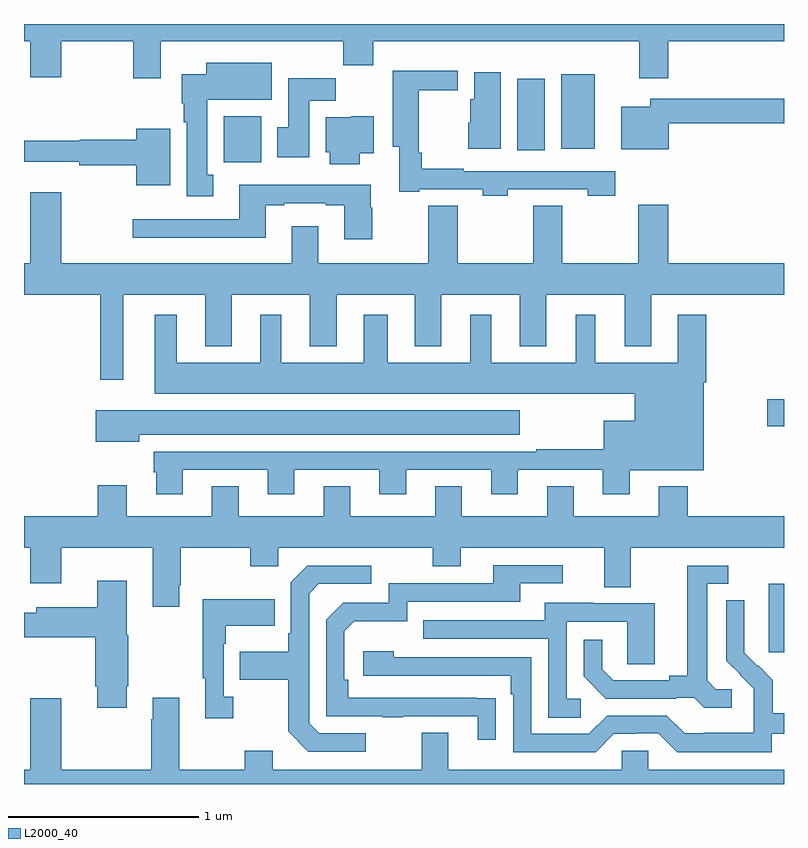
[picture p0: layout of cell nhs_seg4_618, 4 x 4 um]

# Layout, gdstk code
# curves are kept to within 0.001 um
import gdstk
lib = gdstk.Library(unit=1e-6, precision=1e-09)
def R(c, l, rs):  # rectangles x0, y0, x1, y1
    for r in rs: c.add(gdstk.rectangle(r[:2], r[2:], *l))
def P(c, l, *ps):  # polygons
    for p in ps: c.add(gdstk.Polygon(p, *l))
L2000_40 = (2000, 40)

nhs_seg4_618 = lib.new_cell('nhs_seg4_618')
R(nhs_seg4_618, L2000_40, [(144.92,805.593,145,805.954), (144.912,806.782,145,806.924), (142.052,808.172,142.249,808.414), (143.597,808.236,143.74,808.612), (143.828,808.244,144.004,808.636)])
P(nhs_seg4_618, L2000_40, [(141.721,808.808),(142.681,808.808),(142.681,808.684),(142.838,808.684),(142.838,808.808),(144.239,808.808),(144.239,808.614),(144.392,808.614),(144.392,808.808),(145,808.808),(145,808.9),(141,808.9),(141,808.808),(141.032,808.808),(141.032,808.62),(141.196,808.62),(141.196,808.808),(141.574,808.808),(141.574,808.614),(141.721,808.614)],
  [(141.997,808.106),(141.964,808.106),(141.964,808.502),(142.303,808.502),(142.303,808.696),(141.959,808.696),(141.959,808.636),(141.83,808.636),(141.83,808.482),(141.842,808.482),(141.842,808.382),(141.857,808.382),(141.857,807.993),(141.997,807.993)],
  [(143.547,808.029),(143.967,808.029),(143.967,807.997),(144.112,807.997),(144.112,808.125),(143.315,808.125),(143.315,808.138),(143.093,808.138),(143.093,808.222),(143.078,808.222),(143.078,808.552),(143.284,808.552),(143.284,808.654),(142.94,808.654),(142.94,808.253),(142.976,808.253),(142.976,808.017),(143.08,808.017),(143.08,808.029),(143.415,808.029),(143.415,807.997),(143.547,807.997)],
  [(143.509,808.645),(143.369,808.645),(143.369,808.503),(143.348,808.503),(143.348,808.38),(143.339,808.38),(143.339,808.244),(143.509,808.244)],
  [(142.501,808.496),(142.64,808.496),(142.64,808.614),(142.391,808.614),(142.391,808.356),(142.334,808.356),(142.334,808.2),(142.501,808.2)],
  [(144.394,808.378),(145,808.378),(145,808.507),(144.296,808.507),(144.296,808.465),(144.143,808.465),(144.143,808.241),(144.394,808.241)],
  [(142.768,808.22),(142.84,808.22),(142.84,808.414),(142.722,808.414),(142.722,808.408),(142.589,808.408),(142.589,808.224),(142.61,808.224),(142.61,808.163),(142.768,808.163)],
  [(141.769,808.348),(141.59,808.348),(141.59,808.292),(141.294,808.292),(141.294,808.285),(141,808.285),(141,808.175),(141.292,808.175),(141.292,808.156),(141.59,808.156),(141.59,808.052),(141.769,808.052)],
  [(142.833,807.932),(142.825,807.932),(142.825,808.053),(142.497,808.053),(142.497,808.054),(142.133,808.054),(142.133,807.873),(141.573,807.873),(141.573,807.776),(142.273,807.776),(142.273,807.945),(142.369,807.945),(142.369,807.957),(142.589,807.957),(142.589,807.945),(142.685,807.945),(142.685,807.768),(142.833,807.768)],
  [(141.523,807.476),(141.953,807.476),(141.953,807.203),(142.093,807.203),(142.093,807.476),(142.505,807.476),(142.505,807.203),(142.645,807.203),(142.645,807.476),(143.057,807.476),(143.057,807.203),(143.197,807.203),(143.197,807.476),(143.609,807.476),(143.609,807.203),(143.749,807.203),(143.749,807.476),(144.161,807.476),(144.161,807.203),(144.301,807.203),(144.301,807.476),(145,807.476),(145,807.64),(144.392,807.64),(144.392,807.949),(144.232,807.949),(144.232,807.64),(143.834,807.64),(143.834,807.944),(143.68,807.944),(143.68,807.64),(143.282,807.64),(143.282,807.944),(143.128,807.944),(143.128,807.64),(142.549,807.64),(142.549,807.835),(142.409,807.835),(142.409,807.64),(141.196,807.64),(141.196,808.015),(141.032,808.015),(141.032,807.64),(141,807.64),(141,807.476),(141.402,807.476),(141.402,807.027),(141.523,807.027)],
  [(141.835,806.553),(142.283,806.553),(142.283,806.424),(142.423,806.424),(142.423,806.553),(142.871,806.553),(142.871,806.424),(143.011,806.424),(143.011,806.553),(143.459,806.553),(143.459,806.424),(143.599,806.424),(143.599,806.553),(144.047,806.553),(144.047,806.424),(144.187,806.424),(144.187,806.552),(144.577,806.552),(144.577,807.014),(144.59,807.014),(144.59,807.37),(144.44,807.37),(144.44,807.118),(144.007,807.118),(144.007,807.37),(143.903,807.37),(143.903,807.118),(143.458,807.118),(143.458,807.37),(143.348,807.37),(143.348,807.118),(142.915,807.118),(142.915,807.37),(142.787,807.37),(142.787,807.118),(142.354,807.118),(142.354,807.37),(142.244,807.37),(142.244,807.118),(141.805,807.118),(141.805,807.37),(141.689,807.37),(141.689,806.954),(144.215,806.954),(144.215,806.812),(144.05,806.812),(144.05,806.662),(143.695,806.662),(143.695,806.649),(141.683,806.649),(141.683,806.541),(141.695,806.541),(141.695,806.424),(141.835,806.424)],
  [(141.607,806.738),(143.608,806.738),(143.608,806.866),(141.378,806.866),(141.378,806.702),(141.607,806.702)],
  [(144.053,805.936),(144.193,805.936),(144.193,806.144),(145,806.144),(145,806.308),(144.494,806.308),(144.494,806.467),(144.341,806.467),(144.341,806.308),(143.893,806.308),(143.893,806.468),(143.753,806.468),(143.753,806.308),(143.305,806.308),(143.305,806.468),(143.165,806.468),(143.165,806.308),(142.717,806.308),(142.717,806.468),(142.577,806.468),(142.577,806.308),(142.129,806.308),(142.129,806.468),(141.989,806.468),(141.989,806.308),(141.541,806.308),(141.541,806.473),(141.389,806.473),(141.389,806.308),(141,806.308),(141,806.144),(141.032,806.144),(141.032,805.956),(141.196,805.956),(141.196,806.144),(141.677,806.144),(141.677,805.833),(141.817,805.833),(141.817,805.945),(141.825,805.945),(141.825,806.144),(142.192,806.144),(142.192,806.045),(142.338,806.045),(142.338,806.144),(143.152,806.144),(143.152,806.045),(143.299,806.045),(143.299,806.144),(144.053,806.144)],
  [(143.483,805.352),(142.706,805.353),(142.706,805.45),(142.686,805.45),(142.686,805.704),(142.739,805.757),(143.016,805.757),(143.016,805.86),(143.611,805.86),(143.611,805.956),(143.836,805.956),(143.836,806.052),(143.471,806.052),(143.471,805.956),(142.92,805.956),(142.92,805.854),(142.68,805.854),(142.59,805.764),(142.59,805.257),(142.885,805.257),(142.885,805.252),(142.997,805.252),(142.997,805.257),(143.387,805.257),(143.387,805.134),(143.483,805.134)],
  [(144.724,805.398),(144.642,805.398),(144.595,805.445),(144.595,805.953),(144.706,805.953),(144.706,806.049),(144.491,806.049),(144.491,805.469),(144.395,805.469),(144.395,805.446),(144.1,805.446),(144.043,805.503),(144.043,805.66),(143.946,805.66),(143.946,805.466),(144.062,805.35),(144.434,805.35),(144.434,805.353),(144.528,805.353),(144.58,805.301),(144.724,805.301)],
  [(142.798,805.167),(142.554,805.167),(142.5,805.221),(142.5,805.902),(142.551,805.953),(142.828,805.953),(142.828,806.049),(142.491,806.049),(142.404,805.962),(142.404,805.693),(142.392,805.693),(142.392,805.597),(142.135,805.597),(142.135,805.45),(142.392,805.45),(142.392,805.177),(142.497,805.071),(142.798,805.071)],
  [(141.541,805.414),(141.549,805.414),(141.549,805.683),(141.541,805.683),(141.541,805.969),(141.386,805.969),(141.386,805.831),(141.065,805.831),(141.065,805.801),(141,805.801),(141,805.672),(141.374,805.672),(141.374,805.414),(141.386,805.414),(141.386,805.302),(141.541,805.302)],
  [(142.102,805.358),(142.05,805.358),(142.05,805.637),(142.063,805.637),(142.063,805.733),(142.319,805.733),(142.319,805.873),(141.942,805.873),(141.942,805.457),(141.953,805.457),(141.953,805.245),(142.102,805.245)],
  [(144.936,805.164),(145,805.164),(145,805.273),(144.941,805.273),(144.941,805.447),(144.864,805.524),(144.861,805.521),(144.791,805.592),(144.792,805.868),(144.696,805.868),(144.696,805.55),(144.842,805.402),(144.842,805.305),(144.84,805.305),(144.84,805.171),(144.577,805.171),(144.577,805.167),(144.477,805.167),(144.384,805.26),(144.069,805.26),(143.973,805.164),(143.67,805.164),(143.67,805.566),(142.946,805.566),(142.946,805.6),(142.785,805.6),(142.785,805.47),(143.561,805.47),(143.561,805.373),(143.574,805.373),(143.574,805.068),(144.009,805.068),(144.105,805.164),(144.224,805.164),(144.224,805.167),(144.339,805.167),(144.439,805.067),(144.936,805.067)],
  [(143.929,805.35),(143.856,805.35),(143.856,805.755),(144.174,805.755),(144.174,805.531),(144.319,805.531),(144.319,805.851),(143.995,805.851),(143.995,805.855),(143.741,805.855),(143.741,805.761),(143.101,805.761),(143.101,805.665),(143.76,805.665),(143.76,805.249),(143.929,805.249)],
  [(145,804.976),(144.285,804.976),(144.285,805.074),(144.147,805.074),(144.147,804.976),(143.233,804.976),(143.233,805.171),(143.093,805.171),(143.093,804.976),(142.309,804.976),(142.309,805.075),(142.162,805.075),(142.162,804.976),(141.817,804.976),(141.817,805.354),(141.677,805.354),(141.677,805.241),(141.67,805.241),(141.67,804.976),(141.196,804.976),(141.196,805.351),(141.032,805.351),(141.032,804.976),(141,804.976),(141,804.9),(145,804.9)])

lib.write_gds('nhs_seg4_618.gds')
